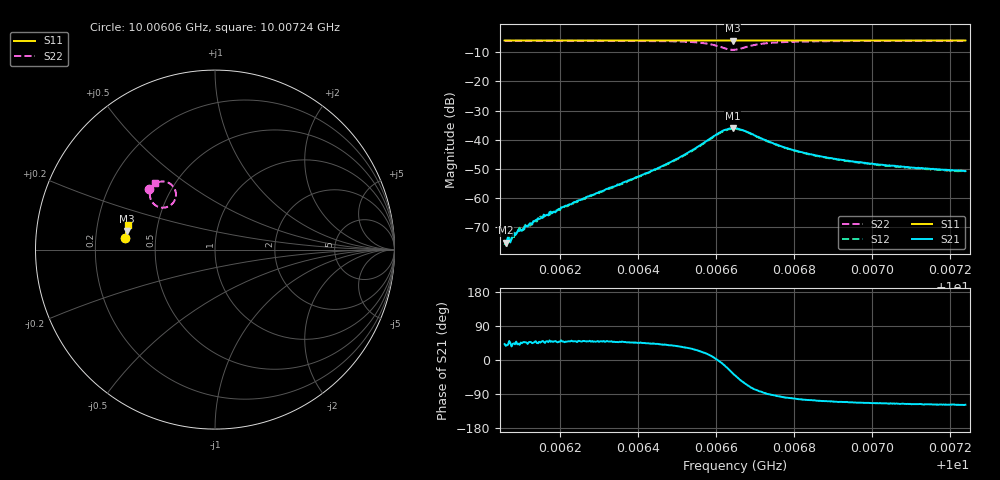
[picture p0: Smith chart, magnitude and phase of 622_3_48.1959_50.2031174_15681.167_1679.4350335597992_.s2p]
#  HZ  S  RI  R  50.00
! Rohde & Schwarz Vector Network Analyzer
! Rohde-Schwarz,ZNB20-2Port,1311601062101988,3.16
! Created: UTC 3/20/2024, 12:03:58 PM
! freq[Hz]  re:S11  im:S11  re:S21  im:S21  re:S12  im:S12  re:S22  im:S22
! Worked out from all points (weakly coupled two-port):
!   401 points, 10.00606 GHz to 10.00724 GHz, reference 50 ohm
!   highest |S21| = -36.08 dB at 10.00664 GHz (marker M1); lowest = -75.3 dB at 10.00606 GHz (marker M2)
!   lowest |S11| = -6.0 dB at 10.00664 GHz (marker M3), VSWR 3.02, Z = 16.7 + j4.52 ohm
!   |S11| at or under -10 dB: nowhere
!   |S22| runs from -9.1 to -6.0 dB; largest |S21 - S12| = 0.0011
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1.0006058e10  -0.4991 0.0641  0.000136 0.000123  0.000137 7.58e-05  -0.3651 0.3398
1.0006061e10  -0.4989 0.0643  0.000136 0.000105  0.000138 0.000106  -0.3649 0.34
1.0006067e10  -0.499 0.0647  0.000165 0.000142  0.000137 0.00013  -0.3644 0.3403
1.0006091e10  -0.4988 0.0662  0.000196 0.000173  0.000173 0.000161  -0.3631 0.342
1.0006114e10  -0.4987 0.0678  0.000227 0.000239  0.000201 0.000249  -0.3615 0.3436
1.0006123e10  -0.4986 0.0684  0.000248 0.000273  0.00023 0.000243  -0.361 0.3441
1.000615e10  -0.4986 0.0701  0.000309 0.000321  0.000276 0.000394  -0.3591 0.3461
1.0006209e10  -0.498 0.0741  0.000463 0.000535  0.000422 0.000522  -0.3548 0.3504
1.0006256e10  -0.4976 0.0771  0.000633 0.000716  0.000572 0.000748  -0.3506 0.3542
1.0006454e10  -0.4957 0.09  0.00248 0.00222  0.00235 0.00229  -0.3213 0.3735
1.0006516e10  -0.4949 0.0942  0.00447 0.00299  0.00421 0.00314  -0.2983 0.3793
1.0006575e10  -0.4938 0.098  0.00899 0.00277  0.00862 0.00315  -0.2537 0.3695
1.0006619e10  -0.4928 0.1004  0.0142 -0.00304  0.0138 -0.00215  -0.2173 0.3072
1.0006643e10  -0.4923 0.1012  0.0129 -0.00898  0.0131 -0.00797  -0.2388 0.2548
1.0006649e10  -0.4924 0.1015  0.0119 -0.0101  0.0123 -0.00924  -0.2504 0.2453
1.0006678e10  -0.4927 0.1029  0.00583 -0.0125  0.00641 -0.012  -0.3124 0.237
1.0006713e10  -0.4928 0.1052  0.00131 -0.0107  0.00172 -0.0104  -0.3505 0.2659
1.0006775e10  -0.4923 0.1095  -0.00111 -0.0073  -0.000681 -0.00726  -0.3631 0.3058
1.0006846e10  -0.4915 0.1141  -0.00155 -0.00535  -0.00128 -0.00532  -0.3596 0.3291
1.000695e10  -0.4901 0.1209  -0.00159 -0.00395  -0.00138 -0.00394  -0.3518 0.3472
1.0007044e10  -0.489 0.1269  -0.00155 -0.00329  -0.00132 -0.00329  -0.3453 0.3575
1.0007239e10  -0.486 0.1392  -0.00137 -0.00256  -0.00127 -0.00257  -0.3332 0.3724
